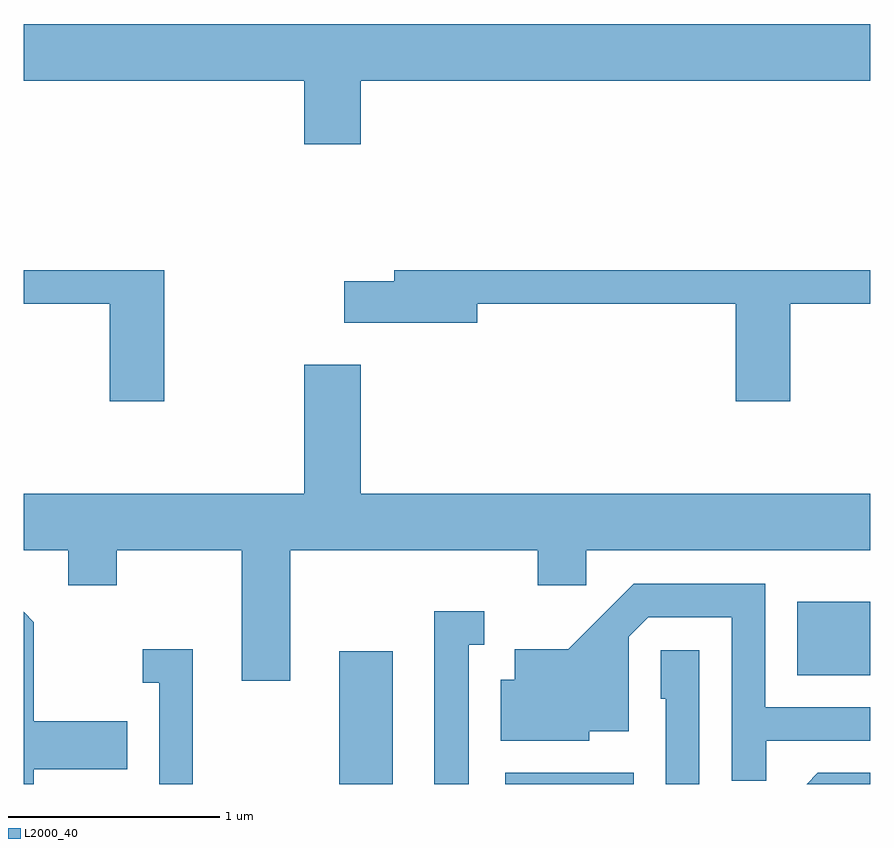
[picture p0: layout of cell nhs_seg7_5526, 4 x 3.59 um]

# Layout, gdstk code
import gdstk
lib = gdstk.Library(unit=1e-6, precision=1e-09)
def R(c, l, rs):  # rectangles x0, y0, x1, y1
    for r in rs: c.add(gdstk.rectangle(r[:2], r[2:], *l))
def P(c, l, *ps):  # polygons
    for p in ps: c.add(gdstk.Polygon(p, *l))
L2000_40 = (2000, 40)

nhs_seg7_5526 = lib.new_cell('nhs_seg7_5526')
R(nhs_seg7_5526, L2000_40, [(355.101,1784.252,355.354,1784.879), (355.886,1784.252,356.494,1784.304), (357.266,1784.766,357.611,1785.114)])
P(nhs_seg7_5526, L2000_40, [(355.204,1787.576),(357.611,1787.576),(357.611,1787.844),(353.611,1787.844),(353.611,1787.576),(354.936,1787.576),(354.936,1787.276),(355.204,1787.276)],
  [(357.234,1786.521),(357.611,1786.521),(357.611,1786.679),(355.361,1786.679),(355.361,1786.629),(355.126,1786.629),(355.126,1786.431),(355.754,1786.431),(355.754,1786.521),(356.976,1786.521),(356.976,1786.061),(357.234,1786.061)],
  [(354.274,1786.679),(353.611,1786.679),(353.611,1786.521),(354.016,1786.521),(354.016,1786.061),(354.274,1786.061)],
  [(354.869,1785.356),(356.041,1785.356),(356.041,1785.191),(356.269,1785.191),(356.269,1785.356),(357.611,1785.356),(357.611,1785.624),(355.204,1785.624),(355.204,1786.234),(354.936,1786.234),(354.936,1785.624),(353.611,1785.624),(353.611,1785.356),(353.821,1785.356),(353.821,1785.191),(354.049,1785.191),(354.049,1785.356),(354.641,1785.356),(354.641,1784.741),(354.869,1784.741)],
  [(357.119,1784.456),(357.611,1784.456),(357.611,1784.614),(357.114,1784.614),(357.114,1785.199),(356.494,1785.199),(356.184,1784.889),(355.931,1784.889),(355.931,1784.744),(355.866,1784.744),(355.866,1784.456),(356.284,1784.456),(356.284,1784.501),(356.469,1784.501),(356.469,1784.949),(356.562,1785.041),(356.956,1785.041),(356.956,1784.268),(357.119,1784.268)],
  [(355.714,1784.911),(355.788,1784.911),(355.788,1785.069),(355.551,1785.069),(355.551,1784.252),(355.714,1784.252)],
  [(353.659,1784.321),(354.099,1784.321),(354.099,1784.549),(353.659,1784.549),(353.659,1785.017),(353.611,1785.065),(353.611,1784.252),(353.659,1784.252)],
  [(354.409,1784.889),(354.173,1784.889),(354.173,1784.731),(354.251,1784.731),(354.251,1784.252),(354.409,1784.252)],
  [(356.804,1784.884),(356.621,1784.884),(356.621,1784.656),(356.646,1784.656),(356.646,1784.252),(356.804,1784.252)],
  [(357.611,1784.304),(357.364,1784.304),(357.312,1784.252),(357.611,1784.252)])

lib.write_gds('nhs_seg7_5526.gds')
